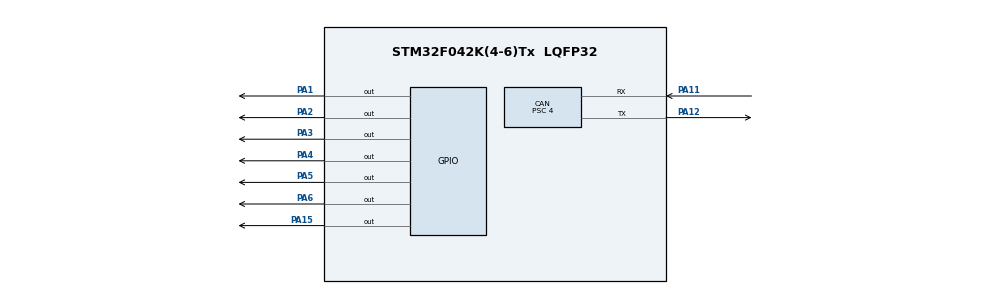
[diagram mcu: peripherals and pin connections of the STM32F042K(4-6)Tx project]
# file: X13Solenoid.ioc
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CAN.BS1=CAN_BS1_11TQ
CAN.BS2=CAN_BS2_4TQ
CAN.CalculateTimeQuantum=500.0
CAN.NART=ENABLE
CAN.Prescaler=4
CAN.TXFP=ENABLE
Mcu.Family=STM32F0
Mcu.Name=STM32F042K(4-6)Tx
Mcu.Package=LQFP32
NVIC.CEC_CAN_IRQn=true\:0\:0\:false\:false\:true\:true\:true
PA1.Signal=GPIO_Output
PA11.Mode=Master
PA11.Signal=CAN_RX
PA12.Mode=Master
PA12.Signal=CAN_TX
PA15.Signal=GPIO_Output
PA2.Signal=GPIO_Output
PA3.Signal=GPIO_Output
PA4.Signal=GPIO_Output
PA5.Signal=GPIO_Output
PA6.Signal=GPIO_Output
ProjectManager.HeapSize=0x200
ProjectManager.StackSize=0x400
ProjectManager.TargetToolchain=STM32CubeIDE
board=custom

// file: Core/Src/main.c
/* USER CODE BEGIN Header */
/**
  ******************************************************************************
  * @file           : main.c
  * @brief          : Main program body
  ******************************************************************************
  * @attention
  *
  * <h2><center>&copy; Copyright (c) 2021 STMicroelectronics.
  * All rights reserved.</center></h2>
  *
  * This software component is licensed by ST under BSD 3-Clause license,
  * the "License"; You may not use this file except in compliance with the
  * License. You may obtain a copy of the License at:
  *                        opensource.org/licenses/BSD-3-Clause
  *
  ******************************************************************************
  */
/* USER CODE END Header */
#include "main.h"

/* USER CODE BEGIN Includes */

#pragma GCC diagnostic warning "-Wunused-macros"
#pragma GCC diagnostic warning "-Wunused-parameter"
#pragma GCC diagnostic warning "-Wsign-compare"
#pragma GCC diagnostic warning "-Wconversion"
#pragma GCC diagnostic warning "-Wredundant-decls"
#pragma GCC diagnostic warning "-Wswitch-default"
#pragma GCC diagnostic warning "-Wswitch-enum"

#include "canFilterBankConfig.h"

/* USER CODE END Includes */

/* USER CODE BEGIN PD */

#define SOLENOID_OPERATION_CAN_ID 0x204
#define SOLENOID_OPERATION_CAN_FIFO_NUMBER 0
#define SOLENOID_OPERATION_CAN_FILTER_BANK_NUMBER 0

#define SOLENOID_1_BITSHIFT 0
#define SOLENOID_2_BITSHIFT 1
#define SOLENOID_3_BITSHIFT 2
#define SOLENOID_4_BITSHIFT 3
#define SOLENOID_5_BITSHIFT 4
#define SOLENOID_6_BITSHIFT 5

#define SOLENOID_1_BITMASK (0x01 << SOLENOID_1_BITSHIFT)
#define SOLENOID_2_BITMASK (0x01 << SOLENOID_2_BITSHIFT)
#define SOLENOID_3_BITMASK (0x01 << SOLENOID_3_BITSHIFT)
#define SOLENOID_4_BITMASK (0x01 << SOLENOID_4_BITSHIFT)
#define SOLENOID_5_BITMASK (0x01 << SOLENOID_5_BITSHIFT)
#define SOLENOID_6_BITMASK (0x01 << SOLENOID_6_BITSHIFT)

/* USER CODE END PD */

CAN_HandleTypeDef hcan;

void SystemClock_Config(void);
static void MX_GPIO_Init(void);
static void MX_CAN_Init(void);
/* USER CODE BEGIN PFP */

void CAN_FIFO0_RXMessagePendingCallback(CAN_HandleTypeDef* _hcan);
void CAN_ConfigureFilterForCanRecvOperation(uint32_t canId, uint32_t fifoNumber, uint32_t filterBankNumber);

void DisableAllSolenoids(void);

/* USER CODE END PFP */

int main(void)
{

  /* MCU Configuration--------------------------------------------------------*/

  /* Reset of all peripherals, Initializes the Flash interface and the Systick. */
  HAL_Init();

  /* Configure the system clock */
  SystemClock_Config();

  /* Initialize all configured peripherals */
  MX_GPIO_Init();
  MX_CAN_Init();
  /* USER CODE BEGIN 2 */

  HAL_CAN_Start(&hcan);

  /* USER CODE END 2 */

  /* Infinite loop */
  while (1)
  {

  }
}

void SystemClock_Config(void)
{
  RCC_OscInitTypeDef RCC_OscInitStruct = {0};
  RCC_ClkInitTypeDef RCC_ClkInitStruct = {0};

  /** Initializes the RCC Oscillators according to the specified parameters
  * in the RCC_OscInitTypeDef structure.
  */
  RCC_OscInitStruct.OscillatorType = RCC_OSCILLATORTYPE_HSI;
  RCC_OscInitStruct.HSIState = RCC_HSI_ON;
  RCC_OscInitStruct.HSICalibrationValue = RCC_HSICALIBRATION_DEFAULT;
  RCC_OscInitStruct.PLL.PLLState = RCC_PLL_NONE;
  if (HAL_RCC_OscConfig(&RCC_OscInitStruct) != HAL_OK)
  {
    Error_Handler();
  }
  /** Initializes the CPU, AHB and APB buses clocks
  */
  RCC_ClkInitStruct.ClockType = RCC_CLOCKTYPE_HCLK|RCC_CLOCKTYPE_SYSCLK
                              |RCC_CLOCKTYPE_PCLK1;
  RCC_ClkInitStruct.SYSCLKSource = RCC_SYSCLKSOURCE_HSI;
  RCC_ClkInitStruct.AHBCLKDivider = RCC_SYSCLK_DIV1;
  RCC_ClkInitStruct.APB1CLKDivider = RCC_HCLK_DIV1;

  if (HAL_RCC_ClockConfig(&RCC_ClkInitStruct, FLASH_LATENCY_0) != HAL_OK)
  {
    Error_Handler();
  }
}

static void MX_CAN_Init(void)
{

  hcan.Instance = CAN;
  hcan.Init.Prescaler = 4;
  hcan.Init.Mode = CAN_MODE_NORMAL;
  hcan.Init.SyncJumpWidth = CAN_SJW_1TQ;
  hcan.Init.TimeSeg1 = CAN_BS1_11TQ;
  hcan.Init.TimeSeg2 = CAN_BS2_4TQ;
  hcan.Init.TimeTriggeredMode = DISABLE;
  hcan.Init.AutoBusOff = DISABLE;
  hcan.Init.AutoWakeUp = DISABLE;
  hcan.Init.AutoRetransmission = ENABLE;
  hcan.Init.ReceiveFifoLocked = DISABLE;
  hcan.Init.TransmitFifoPriority = ENABLE;
  if (HAL_CAN_Init(&hcan) != HAL_OK)
  {
    Error_Handler();
  }
  /* USER CODE BEGIN CAN_Init 2 */

  HAL_CAN_ActivateNotification(&hcan, CAN_IT_RX_FIFO0_MSG_PENDING);
  HAL_CAN_RegisterCallback(&hcan, HAL_CAN_RX_FIFO0_MSG_PENDING_CB_ID, CAN_FIFO0_RXMessagePendingCallback);
  CAN_ConfigureFilterForCanRecvOperation(
		  SOLENOID_OPERATION_CAN_ID,
		  SOLENOID_OPERATION_CAN_FIFO_NUMBER,
		  SOLENOID_OPERATION_CAN_FILTER_BANK_NUMBER);

  /* USER CODE END CAN_Init 2 */

}

static void MX_GPIO_Init(void)
{
  GPIO_InitTypeDef GPIO_InitStruct = {0};

  /* GPIO Ports Clock Enable */
  __HAL_RCC_GPIOA_CLK_ENABLE();

  /*Configure GPIO pin Output Level */
  HAL_GPIO_WritePin(GPIOA, GPIO_PIN_1|GPIO_PIN_2|GPIO_PIN_3|GPIO_PIN_4
                          |GPIO_PIN_5|GPIO_PIN_6|GPIO_PIN_15, GPIO_PIN_RESET);

  /*Configure GPIO pins : PA1 PA2 PA3 PA4
                           PA5 PA6 PA15 */
  GPIO_InitStruct.Pin = GPIO_PIN_1|GPIO_PIN_2|GPIO_PIN_3|GPIO_PIN_4
                          |GPIO_PIN_5|GPIO_PIN_6|GPIO_PIN_15;
  GPIO_InitStruct.Mode = GPIO_MODE_OUTPUT_PP;
  GPIO_InitStruct.Pull = GPIO_NOPULL;
  GPIO_InitStruct.Speed = GPIO_SPEED_FREQ_LOW;
  HAL_GPIO_Init(GPIOA, &GPIO_InitStruct);

}

/* USER CODE BEGIN 4 */

void CAN_FIFO0_RXMessagePendingCallback(CAN_HandleTypeDef* _hcan)
{
	uint8_t solenoidControlByte;

	solenoidControlByte = (uint8_t)((CAN_RDH0R_DATA7 & _hcan->Instance->sFIFOMailBox[0].RDHR) >> CAN_RDH0R_DATA7_Pos);
	SET_BIT(_hcan->Instance->RF0R, CAN_RF0R_RFOM0);

	HAL_GPIO_WritePin(GPIOA, GPIO_PIN_1, (solenoidControlByte & SOLENOID_1_BITMASK) >> SOLENOID_1_BITSHIFT);
	HAL_GPIO_WritePin(GPIOA, GPIO_PIN_2, (solenoidControlByte & SOLENOID_2_BITMASK) >> SOLENOID_2_BITSHIFT);
	HAL_GPIO_WritePin(GPIOA, GPIO_PIN_3, (solenoidControlByte & SOLENOID_3_BITMASK) >> SOLENOID_3_BITSHIFT);
	HAL_GPIO_WritePin(GPIOA, GPIO_PIN_4, (solenoidControlByte & SOLENOID_4_BITMASK) >> SOLENOID_4_BITSHIFT);
	HAL_GPIO_WritePin(GPIOA, GPIO_PIN_5, (solenoidControlByte & SOLENOID_5_BITMASK) >> SOLENOID_5_BITSHIFT);
	HAL_GPIO_WritePin(GPIOA, GPIO_PIN_6, (solenoidControlByte & SOLENOID_6_BITMASK) >> SOLENOID_6_BITSHIFT);
}

void CAN_ConfigureFilterForCanRecvOperation(uint32_t canId, uint32_t fifoNumber, uint32_t filterBankNumber)
{
	CAN_FilterTypeDef filter;
	CAN_FilterBank canFilterBank;
	CAN_FilterIDMaskConfig canFilterId;
	CAN_FilterIDMaskConfig canFilterMask;

	//  Configure Filter Bank Parameters except ID and Mask
	filter.FilterFIFOAssignment = fifoNumber;
	filter.FilterBank = filterBankNumber;
	filter.FilterMode = CAN_FILTERMODE_IDMASK;
	filter.FilterScale = CAN_FILTERSCALE_32BIT;
	filter.FilterActivation = CAN_FILTER_ENABLE;

	//  Configure only ID and Mask Filter Bank Parameters
	canFilterBank.filterMode = CANIDFilterMode_32BitMask;

	canFilterId.stdId = canId;
	canFilterId.extId = 0;
	canFilterId.ide = CAN_IDE_CLEAR;
	canFilterId.rtr = CAN_RTR_CLEAR;

	canFilterMask.stdId = 0x7FF;
	canFilterMask.extId = 0;
	canFilterMask.ide = CAN_IDE_CLEAR;
	canFilterMask.rtr = CAN_RTR_CLEAR;

	canFilterBank.id1 = &canFilterId;
	canFilterBank.mask1 = &canFilterMask;

	CAN_ConfigureFilterBank(&filter, &canFilterBank);
	HAL_CAN_ConfigFilter(&hcan, &filter);
}

void DisableAllSolenoids(void)
{
	HAL_GPIO_WritePin(GPIOA, GPIO_PIN_1, GPIO_PIN_RESET);
	HAL_GPIO_WritePin(GPIOA, GPIO_PIN_2, GPIO_PIN_RESET);
	HAL_GPIO_WritePin(GPIOA, GPIO_PIN_3, GPIO_PIN_RESET);
	HAL_GPIO_WritePin(GPIOA, GPIO_PIN_4, GPIO_PIN_RESET);
	HAL_GPIO_WritePin(GPIOA, GPIO_PIN_5, GPIO_PIN_RESET);
	HAL_GPIO_WritePin(GPIOA, GPIO_PIN_6, GPIO_PIN_RESET);
}

/* USER CODE END 4 */

void Error_Handler(void)
{
}

/************************ (C) COPYRIGHT STMicroelectronics *****END OF FILE****/
